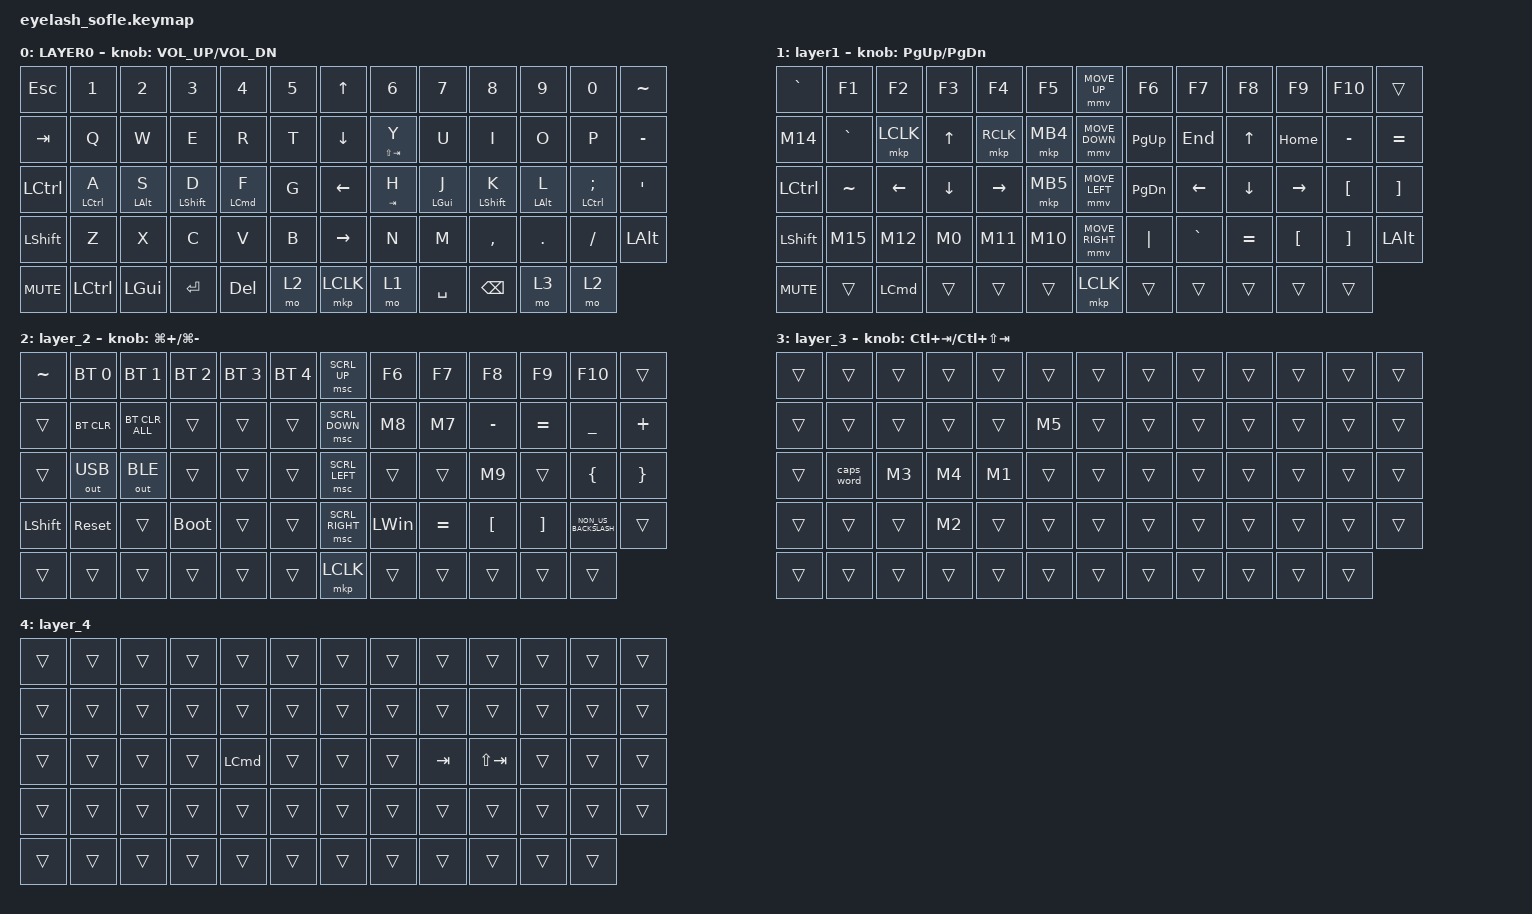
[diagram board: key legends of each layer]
#define ZMK_POINTING_DEFAULT_MOVE_VAL 1200  // 600
#define ZMK_POINTING_DEFAULT_SCRL_VAL 25   // 10

#include <input/processors.dtsi>
#include <zephyr/dt-bindings/input/input-event-codes.h>
#include <behaviors.dtsi>
#include <dt-bindings/zmk/bt.h>
#include <dt-bindings/zmk/keys.h>
#include <dt-bindings/zmk/outputs.h>
#include <dt-bindings/zmk/pointing.h>

&mmv_input_listener { input-processors = <&zip_xy_scaler 2 1>; };

&msc_input_listener { input-processors = <&zip_scroll_scaler 2 1>; };

&msc {
    acceleration-exponent = <5>;      // 0
    time-to-max-speed-ms = <100>;       // 300
    delay-ms = <0>;                   // 0
};

&mmv {
    time-to-max-speed-ms = <200>;
    acceleration-exponent = <2>;
    trigger-period-ms = <9>;
};

&mt {
    flavor = "tap-preferred";
    tapping-term-ms = <200>;
};

/ {
    scroll_encoder: scroll_encoder {
        compatible = "zmk,behavior-sensor-rotate";
        #sensor-binding-cells = <0>;
        bindings = <&msc SCRL_DOWN>, <&msc SCRL_UP>;

        tap-ms = <100>;
    };

    macros {
        M14: M14 {
            compatible = "zmk,behavior-macro";
            #binding-cells = <0>;
            bindings = <&kp LA(LG(L))>;
            label = "M14";
        };

        M15: M15 {
            compatible = "zmk,behavior-macro";
            #binding-cells = <0>;
            bindings = <&kp LG(LS(D))>;
            label = "M15";
        };

        M12: M12 {
            compatible = "zmk,behavior-macro";
            #binding-cells = <0>;
            bindings = <&kp LG(GRAVE)>;
            label = "M12";
        };

        M0: M0 {
            compatible = "zmk,behavior-macro";
            #binding-cells = <0>;
            bindings = <&kp LS(LC(TAB))>;
            label = "M0";
        };

        M11: M11 {
            compatible = "zmk,behavior-macro";
            #binding-cells = <0>;
            bindings = <&kp RC(UP_ARROW)>;
            label = "M11";
        };

        M8: M8 {
            compatible = "zmk,behavior-macro";
            #binding-cells = <0>;
            bindings = <&kp LC(RC(Y))>;
            label = "M8";
        };

        M7: M7 {
            compatible = "zmk,behavior-macro";
            #binding-cells = <0>;
            bindings = <&kp LC(RC(U))>;
            label = "M7";
        };

        M9: M9 {
            compatible = "zmk,behavior-macro";
            #binding-cells = <0>;
            bindings = <&kp LC(RC(K))>;
            label = "M9";
        };

        M3: M3 {
            compatible = "zmk,behavior-macro";
            #binding-cells = <0>;
            bindings = <&kp LG(LA(LEFT_ARROW))>;
            label = "M3";
        };

        M4: M4 {
            compatible = "zmk,behavior-macro";
            #binding-cells = <0>;
            bindings = <&kp LG(LA(RG(RA(RIGHT))))>;
            label = "M4";
        };

        M2: M2 {
            compatible = "zmk,behavior-macro";
            #binding-cells = <0>;
            bindings = <&kp LG(RG(LC(RC(RS(LS(NUMBER_4))))))>;
            label = "M2";
        };

        M1: M1 {
            compatible = "zmk,behavior-macro";
            #binding-cells = <0>;
            bindings = <&kp LG(RG(RC(LC(LA(RA(F))))))>;
            label = "M1";
        };

        M5: M5 {
            compatible = "zmk,behavior-macro";
            #binding-cells = <0>;
            bindings = <&kp LG(RG(LC(RC(RA(LA(RIGHT))))))>;
            label = "M5";
        };

        M10: M10 {
            compatible = "zmk,behavior-macro";
            #binding-cells = <0>;
            bindings = <&kp RC(LC(DOWN))>;
            label = "M10";
        };
    };

    behaviors {
    };

    combos {
        compatible = "zmk,combos";

        CmdC {
            bindings = <&kp LG(C)>;
            key-positions = <30 29>;
        };

        CmdV {
            bindings = <&kp LG(V)>;
            key-positions = <29 28>;
        };

        CmdZ {
            bindings = <&kp LG(Z)>;
            key-positions = <27 28>;
        };

        CmdSingleBacktick {
            bindings = <&kp LG(GRAVE)>;
            key-positions = <34 35>;
            require-prior-idle-ms = <50>;
            slow-release;
            timeout-ms = <200>;
            layers = <0 2 1>;
        };
    };

    keymap {
        compatible = "zmk,keymap";

        layer0 {
            bindings = <
&kp ESC     &kp N1              &kp N2          &kp N3            &kp N4      &kp N5    &kp UP_ARROW     &kp N6         &kp N7      &kp N8            &kp N9          &kp N0                 &kp TILDE
&kp TAB     &kp Q               &kp W           &kp E             &kp R       &kp T     &kp DOWN_ARROW   &mt LS(TAB) Y  &kp U       &kp I             &kp O           &kp P                  &kp MINUS
&kp LCTRL   &mt LEFT_CONTROL A  &mt LEFT_ALT S  &mt LEFT_SHIFT D  &mt LCMD F  &kp G     &kp LEFT_ARROW   &mt TAB H      &mt LGUI J  &mt LEFT_SHIFT K  &mt LEFT_ALT L  &mt LEFT_CONTROL SEMI  &kp APOS
&kp LSHFT   &kp Z               &kp X           &kp C             &kp V       &kp B     &kp RIGHT_ARROW  &kp N          &kp M       &kp COMMA         &kp DOT         &kp FSLH               &kp LEFT_ALT
&kp C_MUTE  &kp LCTRL           &kp LEFT_GUI    &kp ENTER         &kp DEL     &mo 2     &mkp LCLK        &mo 1          &kp SPACE   &kp BACKSPACE     &mo 3           &mo 2
            >;

            sensor-bindings = <&inc_dec_kp C_VOLUME_UP C_VOL_DN>;
            display-name = "LAYER0";
        };

        layer_1 {
            bindings = <
&kp GRAVE       &kp F1     &kp F2     &kp F3        &kp F4     &kp F5      &mmv MOVE_UP     &kp F6     &kp F7     &kp F8     &kp F9            &kp F10            &trans
&M14            &kp GRAVE  &mkp LCLK  &kp UP_ARROW  &mkp RCLK  &mkp MB4    &mmv MOVE_DOWN   &kp PG_UP  &kp END    &kp UP     &kp HOME          &kp MINUS          &kp EQUAL
&kp LCTRL       &kp TILDE  &kp LEFT   &kp DOWN      &kp RIGHT  &mkp MB5    &mmv MOVE_LEFT   &kp PG_DN  &kp LEFT   &kp DOWN   &kp RIGHT         &kp LEFT_BRACKET   &kp RIGHT_BRACKET
&kp LEFT_SHIFT  &M15       &M12       &M0           &M11       &M10        &mmv MOVE_RIGHT  &kp PIPE   &kp GRAVE  &kp EQUAL  &kp LEFT_BRACKET  &kp RIGHT_BRACKET  &kp LEFT_ALT
&kp C_MUTE      &trans     &kp LCMD   &trans        &trans     &trans      &mkp LCLK        &trans     &trans     &trans     &trans            &trans
            >;

            display-name = "layer1";
            sensor-bindings = <&inc_dec_kp PAGE_UP PAGE_DOWN>;
        };

        layer_2 {
            bindings = <
&kp TILDE       &bt BT_SEL 0  &bt BT_SEL 1    &bt BT_SEL 2  &bt BT_SEL 3  &bt BT_SEL 4    &msc SCRL_UP     &kp F6        &kp F7     &kp F8            &kp F9             &kp F10               &trans
&trans          &bt BT_CLR    &bt BT_CLR_ALL  &trans        &trans        &trans          &msc SCRL_DOWN   &M8           &M7        &kp MINUS         &kp EQUAL          &kp UNDER             &kp PLUS
&trans          &out OUT_USB  &out OUT_BLE    &trans        &trans        &trans          &msc SCRL_LEFT   &trans        &trans     &M9               &trans             &kp LBRC              &kp RBRC
&kp LEFT_SHIFT  &sys_reset    &trans          &bootloader   &trans        &trans          &msc SCRL_RIGHT  &kp LEFT_WIN  &kp EQUAL  &kp LEFT_BRACKET  &kp RIGHT_BRACKET  &kp NON_US_BACKSLASH  &trans
&trans          &trans        &trans          &trans        &trans        &trans          &mkp LCLK        &trans        &trans     &trans            &trans             &trans
            >;

            sensor-bindings = <&inc_dec_kp LG(PLUS) LG(MINUS)>;
        };

        layer_3 {
            bindings = <
&trans  &trans      &trans  &trans  &trans  &trans    &trans  &trans  &trans  &trans  &trans  &trans  &trans
&trans  &trans      &trans  &trans  &trans  &M5       &trans  &trans  &trans  &trans  &trans  &trans  &trans
&trans  &caps_word  &M3     &M4     &M1     &trans    &trans  &trans  &trans  &trans  &trans  &trans  &trans
&trans  &trans      &trans  &M2     &trans  &trans    &trans  &trans  &trans  &trans  &trans  &trans  &trans
&trans  &trans      &trans  &trans  &trans  &trans    &trans  &trans  &trans  &trans  &trans  &trans
            >;

            sensor-bindings = <&inc_dec_kp LC(TAB) LC(LS(TAB))>;
        };

        layer_4 {
            bindings = <
&trans  &trans  &trans  &trans  &trans    &trans    &trans  &trans  &trans   &trans       &trans  &trans  &trans
&trans  &trans  &trans  &trans  &trans    &trans    &trans  &trans  &trans   &trans       &trans  &trans  &trans
&trans  &trans  &trans  &trans  &kp LCMD  &trans    &trans  &trans  &kp TAB  &kp LS(TAB)  &trans  &trans  &trans
&trans  &trans  &trans  &trans  &trans    &trans    &trans  &trans  &trans   &trans       &trans  &trans  &trans
&trans  &trans  &trans  &trans  &trans    &trans    &trans  &trans  &trans   &trans       &trans  &trans
            >;
        };
    };
};
